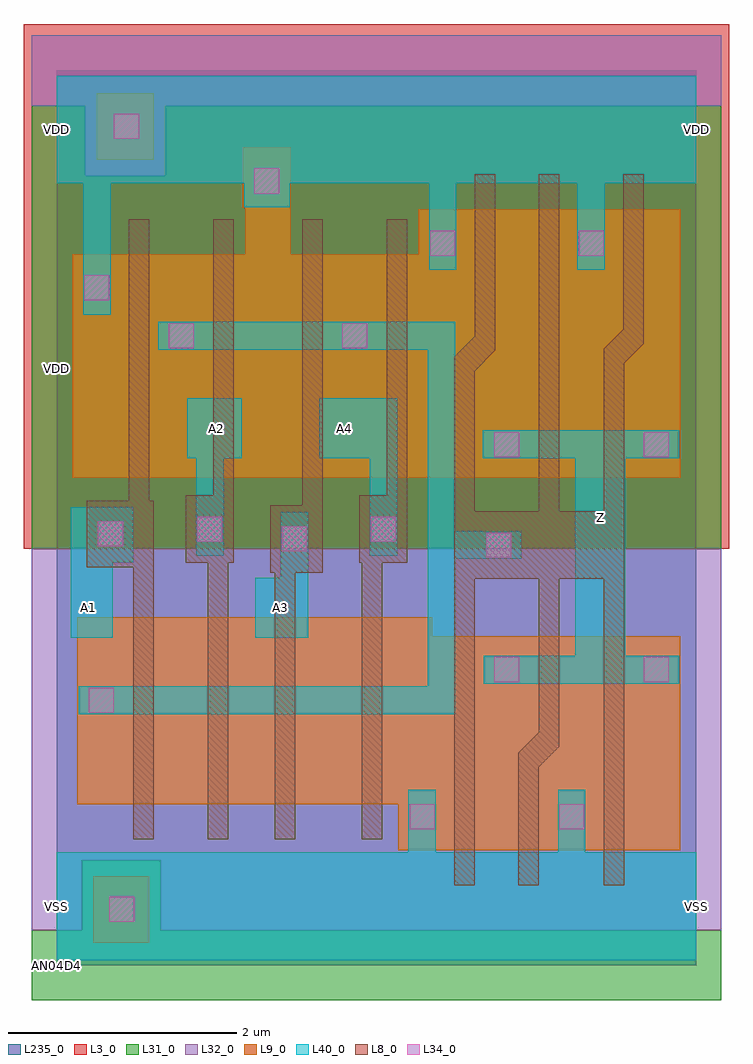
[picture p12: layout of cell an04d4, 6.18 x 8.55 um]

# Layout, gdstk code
import gdstk
lib = gdstk.Library(unit=1e-6, precision=1e-09)
def R(c, l, rs):  # rectangles x0, y0, x1, y1
    for r in rs: c.add(gdstk.rectangle(r[:2], r[2:], *l))
def P(c, l, *ps):  # polygons
    for p in ps: c.add(gdstk.Polygon(p, *l))
L3_0 = (3, 0)
L8_0 = (8, 0)
L9_0 = (9, 0)
L31_0 = (31, 0)
L32_0 = (32, 0)
L34_0 = (34, 0)
L40_0 = (40, 0)
L235_0 = (235, 0)

an04d4 = lib.new_cell('an04d4')
R(an04d4, L3_0, [(-0.29,3.65,5.89,8.245)])
P(an04d4, L8_0, [(3.66,3.385),(4.22,3.385),(4.22,2.04),(4.04,1.86),(4.04,0.7),(4.22,0.7),(4.22,1.735),(4.4,1.915),(4.4,3.385),(4.79,3.385),(4.79,0.7),(4.97,0.7),(4.97,5.275),(5.14,5.445),(5.14,6.93),(4.96,6.93),(4.96,5.57),(4.79,5.4),(4.79,3.975),(4.4,3.975),(4.4,6.93),(4.22,6.93),(4.22,3.975),(3.66,3.975),(3.66,5.205),(3.84,5.385),(3.84,6.93),(3.66,6.93),(3.66,5.51),(3.48,5.33),(3.48,0.7),(3.66,0.7)],
  [(2.85,3.525),(3.07,3.525),(3.07,6.535),(2.89,6.535),(2.89,4.115),(2.65,4.115),(2.65,3.525),(2.67,3.525),(2.67,1.105),(2.85,1.105)],
  [(2.09,3.44),(2.33,3.44),(2.33,6.535),(2.15,6.535),(2.15,4.03),(1.87,4.03),(1.87,3.44),(1.91,3.44),(1.91,1.105),(2.09,1.105)],
  [(1.5,3.525),(1.55,3.525),(1.55,6.535),(1.37,6.535),(1.37,4.115),(1.13,4.115),(1.13,3.525),(1.32,3.525),(1.32,1.105),(1.5,1.105)],
  [(0.85,4.07),(0.81,4.07),(0.81,6.535),(0.63,6.535),(0.63,4.07),(0.26,4.07),(0.26,3.485),(0.67,3.485),(0.67,1.105),(0.85,1.105)])
R(an04d4, L9_0, [(0.32,0.195,0.81,0.78), (0.35,7.055,0.85,7.64)])
P(an04d4, L9_0, [(3.29,3.05),(3.29,2.88),(5.46,2.88),(5.46,1.005),(2.99,1.005),(2.99,1.41),(0.18,1.41),(0.18,3.05)],
  [(2.05,7.165),(2.05,6.23),(3.17,6.23),(3.17,6.62),(5.46,6.62),(5.46,4.27),(0.14,4.27),(0.14,6.23),(1.65,6.23),(1.65,6.635),(1.63,6.635),(1.63,7.165)])
P(an04d4, L31_0, [(0.91,0.92),(0.91,0.305),(5.82,0.305),(5.82,-0.305),(-0.22,-0.305),(-0.22,0.305),(0.22,0.305),(0.22,0.92)],
  [(5.82,7.53),(5.82,3.65),(-0.22,3.65),(-0.22,7.53),(0.25,7.53),(0.25,6.915),(0.95,6.915),(0.95,7.53)])
P(an04d4, L32_0, [(5.82,3.65),(5.82,0.305),(0.91,0.305),(0.91,0.92),(0.22,0.92),(0.22,0.305),(-0.22,0.305),(-0.22,3.65)],
  [(5.82,8.145),(5.82,7.53),(0.95,7.53),(0.95,6.915),(0.25,6.915),(0.25,7.53),(-0.22,7.53),(-0.22,8.145)])
R(an04d4, L34_0, [(0.46,0.38,0.68,0.6), (3.09,1.19,3.31,1.41), (4.4,1.19,4.62,1.41), (0.28,2.21,0.5,2.43), (3.83,2.48,4.05,2.7), (5.14,2.48,5.36,2.7), (3.76,3.57,3.98,3.79), (1.97,3.625,2.19,3.845), (0.36,3.67,0.58,3.89), (1.23,3.71,1.45,3.93), (2.75,3.71,2.97,3.93), (3.83,4.45,4.05,4.67), (5.14,4.45,5.36,4.67), (0.98,5.405,1.2,5.625), (2.5,5.405,2.72,5.625), (0.24,5.825,0.46,6.045), (3.27,6.215,3.49,6.435), (4.57,6.215,4.79,6.435), (1.73,6.76,1.95,6.98), (0.5,7.24,0.72,7.46)])
P(an04d4, L40_0, [(0,6.85),(0.23,6.85),(0.23,5.7),(0.47,5.7),(0.47,6.85),(1.64,6.85),(1.64,6.64),(2.04,6.64),(2.04,6.85),(3.26,6.85),(3.26,6.09),(3.5,6.09),(3.5,6.85),(4.56,6.85),(4.56,6.09),(4.8,6.09),(4.8,6.85),(5.6,6.85),(5.6,7.79),(0,7.79)],
  [(1.14,4.44),(1.22,4.44),(1.22,3.585),(1.46,3.585),(1.46,4.44),(1.62,4.44),(1.62,4.965),(1.14,4.965)],
  [(2.3,4.44),(2.74,4.44),(2.74,3.585),(2.98,3.585),(2.98,4.965),(2.3,4.965)],
  [(0.12,2.87),(0.49,2.87),(0.49,3.53),(0.67,3.53),(0.67,4.01),(0.12,4.01)],
  [(2.2,3.97),(1.96,3.97),(1.96,3.395),(1.74,3.395),(1.74,2.87),(2.2,2.87)],
  [(0.89,5.635),(0.89,5.39),(3.25,5.39),(3.25,2.445),(0.19,2.445),(0.19,2.2),(3.49,2.2),(3.49,3.56),(4.07,3.56),(4.07,3.8),(3.49,3.8),(3.49,5.635)],
  [(5.45,4.44),(5.45,4.685),(3.73,4.685),(3.73,4.44),(4.54,4.44),(4.54,2.71),(3.74,2.71),(3.74,2.465),(5.45,2.465),(5.45,2.71),(4.98,2.71),(4.98,4.44)],
  [(4.39,1.535),(4.39,0.99),(3.32,0.99),(3.32,1.535),(3.08,1.535),(3.08,0.99),(0,0.99),(0,0.045),(5.6,0.045),(5.6,0.99),(4.63,0.99),(4.63,1.535)])
R(an04d4, L235_0, [(0,0,5.6,7.84)])
an04d4.add(gdstk.Label('VDD', (0,5.23), layer=40, texttype=7))
an04d4.add(gdstk.Label('VDD', (0,5.23), layer=40, texttype=7))
an04d4.add(gdstk.Label('VDD', (0,5.23), layer=40, texttype=7))
an04d4.add(gdstk.Label('VDD', (0,5.23), layer=40, texttype=7))
an04d4.add(gdstk.Label('VDD', (0,5.23), layer=40, texttype=7))
an04d4.add(gdstk.Label('Copyright (c) 2003, 2004 Synopsys, Inc.', (0,-2.24), layer=96, texttype=0))
an04d4.add(gdstk.Label('DT. 10-Sep-2002 16:35:32', (0,-1.68), layer=96, texttype=0))
an04d4.add(gdstk.Label('Rev. 1', (0,-1.12), layer=96, texttype=0))
an04d4.add(gdstk.Label('4-INPUT AND, 4X DRIVE', (0,-0.56), layer=96, texttype=0))
an04d4.add(gdstk.Label('AN04D4', (0,0), layer=96, texttype=0))
an04d4.add(gdstk.Label('A2', (1.4,4.7), layer=40, texttype=7))
an04d4.add(gdstk.Label('A3', (1.96,3.135), layer=40, texttype=7))
an04d4.add(gdstk.Label('A4', (2.52,4.7), layer=40, texttype=7))
an04d4.add(gdstk.Label('Z', (4.76,3.92), layer=40, texttype=7))
an04d4.add(gdstk.Label('A1', (0.28,3.135), layer=40, texttype=7))
an04d4.add(gdstk.Label('VSS', (5.6,0.515), layer=40, texttype=7))
an04d4.add(gdstk.Label('VDD', (5.6,7.32), layer=40, texttype=7))
an04d4.add(gdstk.Label('VSS', (0,0.515), layer=40, texttype=7))
an04d4.add(gdstk.Label('VDD', (0,7.32), layer=40, texttype=7))

lib.write_gds('an04d4.gds')
